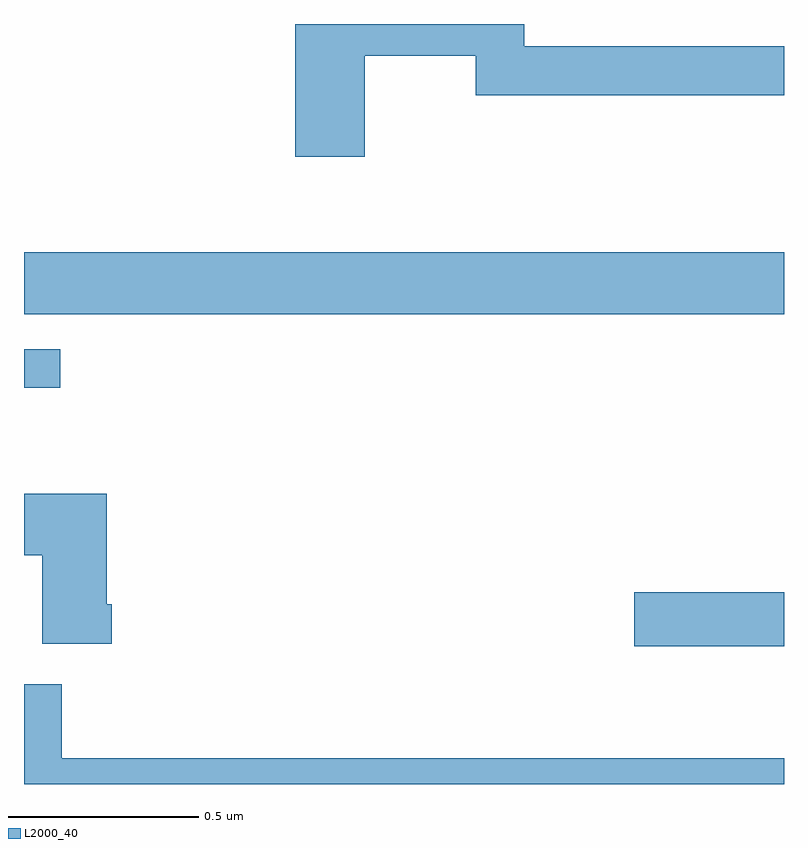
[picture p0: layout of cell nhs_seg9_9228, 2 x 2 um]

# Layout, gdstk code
import gdstk
lib = gdstk.Library(unit=1e-6, precision=1e-09)
def R(c, l, rs):  # rectangles x0, y0, x1, y1
    for r in rs: c.add(gdstk.rectangle(r[:2], r[2:], *l))
def P(c, l, *ps):  # polygons
    for p in ps: c.add(gdstk.Polygon(p, *l))
L2000_40 = (2000, 40)

nhs_seg9_9228 = lib.new_cell('nhs_seg9_9228')
R(nhs_seg9_9228, L2000_40, [(228.606,1212.862,229,1213.004), (227,1213.543,227.095,1213.644), (227,1213.736,229,1213.9)])
P(nhs_seg9_9228, L2000_40, [(227.897,1214.416),(228.189,1214.416),(228.189,1214.313),(229,1214.313),(229,1214.441),(228.317,1214.441),(228.317,1214.5),(227.714,1214.5),(227.714,1214.151),(227.897,1214.151)],
  [(227.231,1212.973),(227.218,1212.973),(227.218,1213.264),(227,1213.264),(227,1213.102),(227.048,1213.102),(227.048,1212.869),(227.231,1212.869)],
  [(229,1212.568),(227.099,1212.568),(227.099,1212.763),(227,1212.763),(227,1212.5),(229,1212.5)])

lib.write_gds('nhs_seg9_9228.gds')
